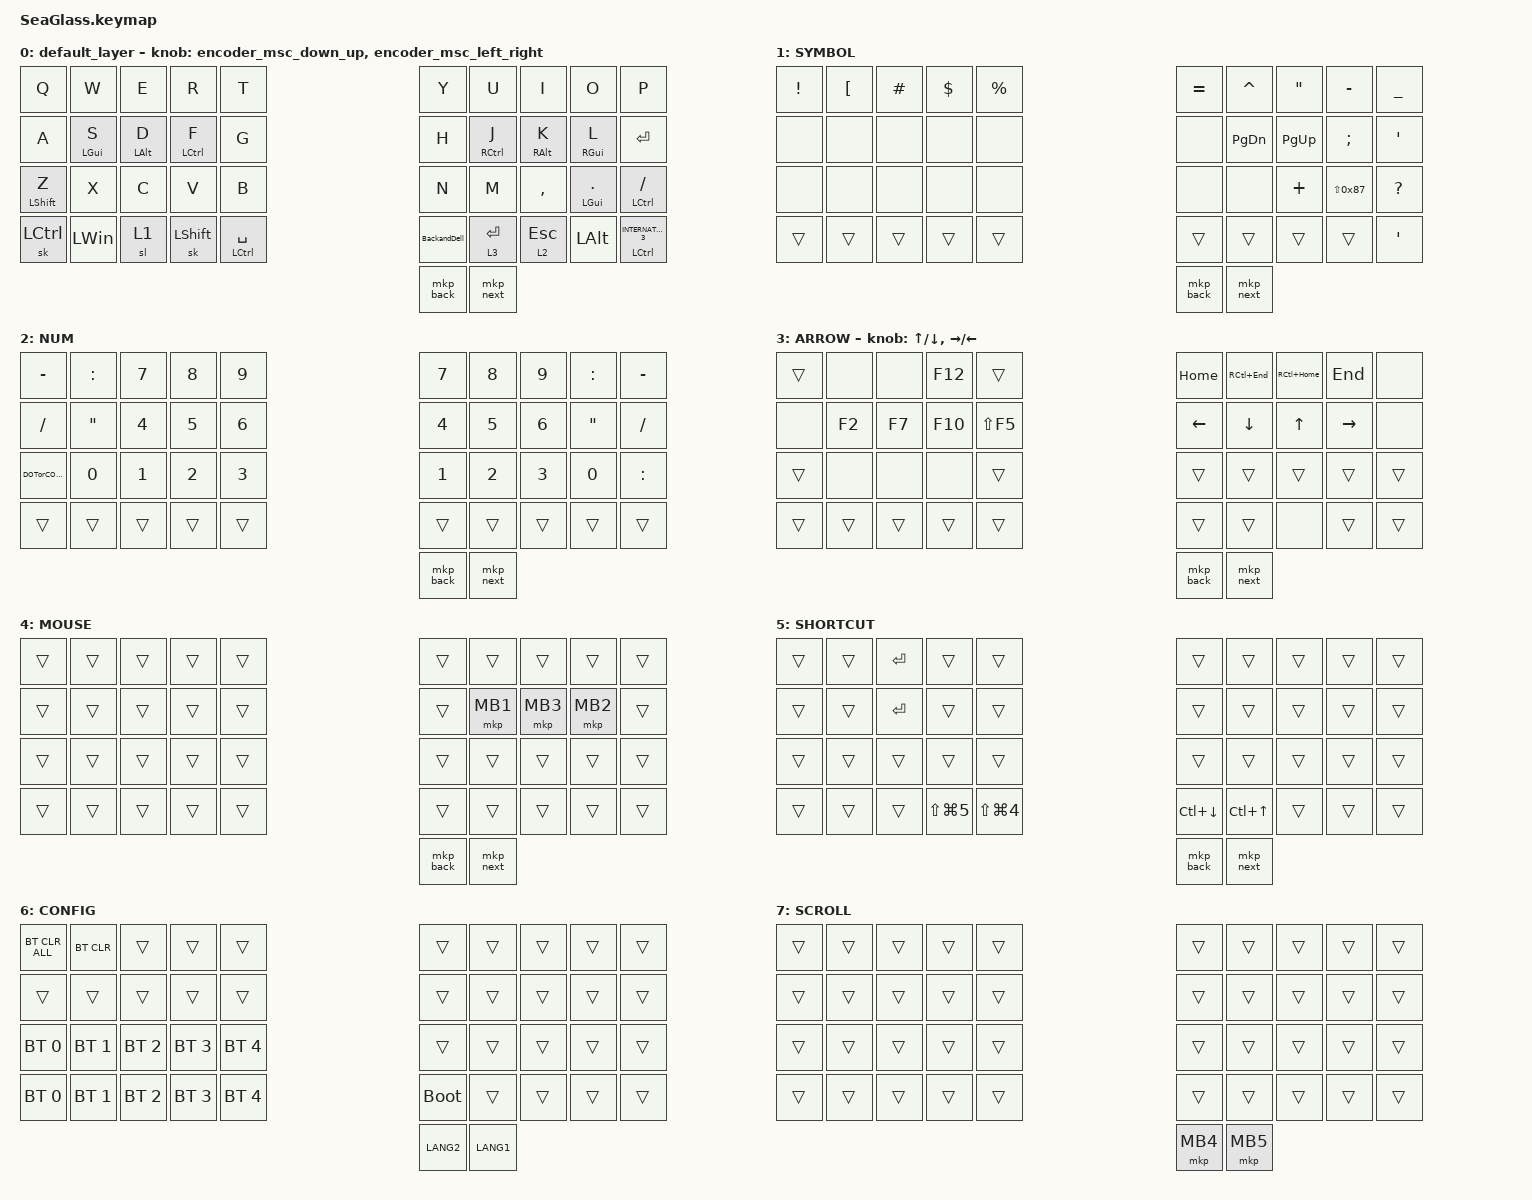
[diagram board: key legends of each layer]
#include <behaviors.dtsi>
#include <dt-bindings/zmk/bt.h>
#include <dt-bindings/zmk/keys.h>
#include <dt-bindings/zmk/pointing.h>

// OS設定を日本語キーボードのまま使用するための変換定義

#define JP_DQUOTE       AT                // "
#define JP_AMPERSAND    CARET             // &
#define JP_QUOTE        AMPERSAND         // '
#define JP_EQUAL        UNDER             // =
#define JP_CARET        EQUAL             // ^
#define JP_YEN          0x89              // ¥
#define JP_PLUS         COLON             // +
#define JP_TILDE        PLUS              // ~
#define JP_PIPE         LS(0x89)          // |
#define JP_AT           LEFT_BRACKET      // @
#define JP_COLON        SINGLE_QUOTE      // :
#define JP_ASTERISK     DOUBLE_QUOTES     // *
#define JP_BACKQUOTE    LEFT_BRACE        // `
#define JP_UNDERSCORE   LS(0x87)          // _
#define JP_LBRACKET     RIGHT_BRACKET     // [
#define JP_RBRACKET     BACKSLASH         // ]
#define JP_LPAREN       ASTERISK          // (
#define JP_RPAREN       LEFT_PARENTHESIS  // )
#define JP_LBRACE       RIGHT_BRACE       // {
#define JP_RBRACE       PIPE              // }
#define JP_KANA         LANGUAGE_1        // かな
#define JP_EISU         LANGUAGE_2        // 英数
#define JP_HANZEN       GRAVE             // 半角/全角
#define MOUSE 4
#define SCROLL 7
#define NUM 6
#define ZMK_POINTING_DEFAULT_SCRL_VAL 120

&mt {
    flavor = "balanced";
    quick-tap-ms = <300>;
};

&lt {
    flavor = "balanced";
    quick-tap-ms = <300>;
};

/ {
    combos {
        compatible = "zmk,combos";

        middle-click {
            bindings = <&mkp MB3>;
            key-positions = <40 41>;
        };

        tab {
            bindings = <&kp TAB>;
            key-positions = <10 11>;
        };

        backspace {
            bindings = <&BackandDell>;
            key-positions = <8 9>;
        };

        kakko {
            bindings = <&kp ASTRK>;
            key-positions = <13 12>;
        };

        daikakko {
            bindings = <&kp RIGHT_BRACKET>;
            key-positions = <23 22>;
            layers = <0>;
        };

        namikakko {
            bindings = <&kp RIGHT_BRACE>;
            key-positions = <2 3>;
            layers = <0>;
        };

        ten {
            bindings = <&kp AMPERSAND>;
            key-positions = <5 6>;
        };

        tenten {
            bindings = <&kp AT>;
            key-positions = <6 7>;
        };

        mv_config {
            bindings = <&sl 6>;
            key-positions = <32 36>;
            layers = <0>;
        };

        HANZEN {
            bindings = <&kp GRAVE>;
            key-positions = <0 1>;
        };

        bo {
            bindings = <&kp MINUS>;
            key-positions = <17 18>;
        };

        kakkotoji {
            bindings = <&kp LEFT_PARENTHESIS>;
            key-positions = <13 14>;
        };

        daikakkotoji {
            bindings = <&kp BACKSLASH>;
            key-positions = <23 24>;
        };

        namikakkotoji {
            bindings = <&kp PIPE>;
            key-positions = <3 4>;
        };

        BACKQUOTE {
            bindings = <&kp LEFT_BRACE>;
            key-positions = <7 8>;
        };

        mo_scroll_layer {
            bindings = <&mo 7>;
            key-positions = <35 25>;
        };
    };

    macros {
        to_layer_0: to_layer_0 {
            compatible = "zmk,behavior-macro-one-param";
            #binding-cells = <1>;
            bindings = <&to 0 &macro_param_1to1 &kp MACRO_PLACEHOLDER>;
            label = "TO_LAYER_0";
        };

        kakko: kakko {
            compatible = "zmk,behavior-macro";
            #binding-cells = <0>;
            bindings = <&kp ASTRK &kp LEFT_PARENTHESIS &kp LEFT_ARROW>;
            label = "KAKKO";
        };

        dai_kakkko: daikakkko {
            compatible = "zmk,behavior-macro";
            #binding-cells = <0>;
            bindings = <&kp RIGHT_BRACKET &kp BACKSLASH &kp LEFT_ARROW>;
            label = "DAIKAKKKO";
        };

        nami_kakko: nami_kakko {
            compatible = "zmk,behavior-macro";
            #binding-cells = <0>;
            bindings = <&kp RIGHT_BRACE &kp PIPE &kp LEFT_ARROW>;
            label = "NAMI_KAKKO";
        };
    };

    behaviors {
        lt_to_layer_0: lt_to_layer_0 {
            compatible = "zmk,behavior-hold-tap";
            label = "LAYER_TAP_TO_0";
            bindings = <&mo>, <&to_layer_0>;

            #binding-cells = <2>;
            tapping-term-ms = <200>;
        };

        encoder_msc_down_up: encoder_msc_down_up {
            compatible = "zmk,behavior-sensor-rotate";
            label = "ENCODER_MSC_DOWN_UP";
            #sensor-binding-cells = <0>;
            bindings = <&msc SCRL_UP>, <&msc SCRL_DOWN>;

            tap-ms = <20>;
        };

        encoder_msc_left_right: encoder_msc_left_right {
            compatible = "zmk,behavior-sensor-rotate";
            label = "ENCODER_MSC_LEFT_RIGHT";
            #sensor-binding-cells = <0>;
            bindings = <&msc SCRL_LEFT>, <&msc SCRL_RIGHT>;

            tap-ms = <20>;
        };

        BackandDell: BackandDell {
            compatible = "zmk,behavior-mod-morph";
            label = "BACKANDDELL";
            bindings = <&kp BACKSPACE>, <&kp DEL>;

            #binding-cells = <0>;
            mods = <(MOD_LSFT)>;
        };

        mkp_back: mkp_back {
            compatible = "zmk,behavior-mod-morph";
            label = "MKP_BACK";
            bindings = <&mkp MB1>, <&mkp MB4>;

            #binding-cells = <0>;
            mods = <(MOD_LSFT)>;
        };

        mkp_next: mkp_next {
            compatible = "zmk,behavior-mod-morph";
            label = "MKP_NEXT";
            bindings = <&mkp MB2>, <&mkp MB5>;

            #binding-cells = <0>;
            mods = <(MOD_LSFT)>;
        };

        DOTorCOMMA: DOTorCOMMA {
            compatible = "zmk,behavior-mod-morph";
            label = "DOTORCOMMA";
            bindings = <&kp PERIOD>, <&kp COMMA>;

            #binding-cells = <0>;
            mods = <(MOD_LSFT)>;
        };

        TAP_KPandMO: TAP_KPandMO {
            compatible = "zmk,behavior-hold-tap";
            label = "TAP_KPANDMO";
            bindings = <&mo>, <&kp>;

            #binding-cells = <2>;
            tapping-term-ms = <200>;
        };

        lhm: left_home_row_mod {
            compatible = "zmk,behavior-hold-tap";
            label = "LEFT_HOME_ROW_MOD";
            bindings = <&kp>, <&kp>;

            #binding-cells = <2>;
            flavor = "balanced";
            tapping-term-ms = <280>;
            quick-tap-ms = <175>;
            require-prior-idle-ms = <125>;
            hold-trigger-key-positions = <5 6 7 8 9 15 16 17 18 19 25 26 27 28 29 35 36 37 38 39 40 41>;
            hold-trigger-on-release;
        };

        rhm: right_home_row_mod {
            compatible = "zmk,behavior-hold-tap";
            label = "RIGHT_HOME_ROW_MOD";
            bindings = <&kp>, <&kp>;

            #binding-cells = <2>;
            flavor = "balanced";
            tapping-term-ms = <280>;
            quick-tap-ms = <175>;
            require-prior-idle-ms = <125>;
            hold-trigger-key-positions = <0 1 2 3 4 10 11 12 13 14 20 21 22 23 24 30 31 32 33 34>;
            hold-trigger-on-release;
        };

        mkp_up_pageup: mkp_up_pageup {
            compatible = "zmk,behavior-mod-morph";
            label = "MKP_UP_PAGEUP";
            bindings = <&kp UP>, <&kp PAGE_UP>;

            #binding-cells = <0>;
            mods = <(MOD_LSFT)>;
        };

        mkp_down_pagedown: mkp_down_pagedown {
            compatible = "zmk,behavior-mod-morph";
            label = "MKP_DOWN_PAGEDOWN";
            bindings = <&kp DOWN>, <&kp PAGE_DOWN>;

            #binding-cells = <0>;
            mods = <(MOD_LSFT)>;
        };
    };

    keymap {
        compatible = "zmk,keymap";

        default_layer {
            bindings = <
&kp Q             &kp W         &kp E        &kp R         &kp T                   &kp Y         &kp U                 &kp I                  &kp O                &kp P
&kp A             &lhm LGUI S   &lhm LALT D  &lhm LCTRL F  &kp G                   &kp H         &rhm RCTRL J          &rhm RALT K            &rhm RGUI L          &kp ENTER
&mt LEFT_SHIFT Z  &kp X         &kp C        &kp V         &kp B                   &kp N         &kp M                 &kp COMMA              &mt LEFT_GUI PERIOD  &mt LEFT_CONTROL SLASH
&sk LCTRL         &kp LEFT_WIN  &sl 1        &sk LSHIFT    &mt LEFT_CONTROL SPACE  &BackandDell  &TAP_KPandMO 3 ENTER  &TAP_KPandMO 2 ESCAPE  &kp LEFT_ALT         &mt LCTRL INTERNATIONAL_3
&mkp_back         &mkp_next
            >;

            sensor-bindings = <&encoder_msc_down_up>, <&encoder_msc_left_right>;
        };

        SYMBOL {
            bindings = <
&kp EXCLAMATION  &kp JP_AT  &kp HASH  &kp DOLLAR  &kp PRCNT  &kp JP_CARET  &kp JP_AMPERSAND  &kp JP_ASTERISK  &kp MINUS          &kp JP_EQUAL
&none            &none      &none     &none       &none      &none         &kp PAGE_DOWN     &kp PAGE_UP      &kp SEMI           &kp JP_COLON
&none            &none      &none     &none       &none      &none         &none             &kp JP_TILDE     &kp JP_UNDERSCORE  &kp QUESTION
&trans           &trans     &trans    &trans      &trans     &trans        &trans            &trans           &trans             &kp SINGLE_QUOTE
&mkp_back        &mkp_next
            >;
        };

        NUM {
            bindings = <
&kp MINUS    &kp JP_PLUS       &kp N7        &kp N8        &kp N9        &kp N7        &kp NUMBER_8  &kp NUMBER_9  &kp JP_PLUS      &kp MINUS
&kp SLASH    &kp JP_ASTERISK  &kp NUMBER_4  &kp N5        &kp NUMBER_6  &kp NUMBER_4  &kp NUMBER_5  &kp NUMBER_6  &kp JP_ASTERISK  &kp SLASH
&DOTorCOMMA  &kp N0        &kp NUMBER_1  &kp NUMBER_2  &kp NUMBER_3  &kp NUMBER_1  &kp NUMBER_2  &kp NUMBER_3  &kp N0        &kp COLON
&trans       &trans        &trans        &trans        &trans        &trans        &trans        &trans        &trans        &trans
&mkp_back    &mkp_next
            >;
        };

        ARROW {
            bindings = <
&trans     &none      &none   &kp F12  &trans      &kp HOME        &kp RC(END)     &kp RC(HOME)  &kp END          &none
&none      &kp F2     &kp F7  &kp F10  &kp LS(F5)  &kp LEFT_ARROW  &kp DOWN_ARROW  &kp UP_ARROW  &kp RIGHT_ARROW  &none
&trans     &none      &none   &none    &trans      &trans          &trans          &trans        &trans           &trans
&trans     &trans     &trans  &trans   &trans      &trans          &trans          &none         &trans           &trans
&mkp_back  &mkp_next
            >;

            sensor-bindings =
                <&inc_dec_kp UP_ARROW DOWN_ARROW>,
                <&inc_dec_kp RIGHT_ARROW LEFT_ARROW>;
        };

        MOUSE {
            bindings = <
&trans     &trans     &trans  &trans  &trans  &trans  &trans    &trans    &trans    &trans
&trans     &trans     &trans  &trans  &trans  &trans  &mkp MB1  &mkp MB3  &mkp MB2  &trans
&trans     &trans     &trans  &trans  &trans  &trans  &trans    &trans    &trans    &trans
&trans     &trans     &trans  &trans  &trans  &trans  &trans    &trans    &trans    &trans
&mkp_back  &mkp_next
            >;
        };

        SHORTCUT {
            bindings = <
&trans     &trans     &kp ENTER  &trans          &trans          &trans              &trans            &trans  &trans  &trans
&trans     &trans     &kp ENTER  &trans          &trans          &trans              &trans            &trans  &trans  &trans
&trans     &trans     &trans     &trans          &trans          &trans              &trans            &trans  &trans  &trans
&trans     &trans     &trans     &kp LS(LG(N5))  &kp LS(LG(N4))  &kp LC(DOWN_ARROW)  &kp LC(UP_ARROW)  &trans  &trans  &trans
&mkp_back  &mkp_next
            >;
        };

        CONFIG {
            bindings = <
&bt BT_CLR_ALL  &bt BT_CLR    &trans        &trans        &trans        &trans       &trans  &trans  &trans  &trans
&trans          &trans        &trans        &trans        &trans        &trans       &trans  &trans  &trans  &trans
&bt BT_SEL 0    &bt BT_SEL 1  &bt BT_SEL 2  &bt BT_SEL 3  &bt BT_SEL 4  &trans       &trans  &trans  &trans  &trans
&bt BT_SEL 0    &bt BT_SEL 1  &bt BT_SEL 2  &bt BT_SEL 3  &bt BT_SEL 4  &bootloader  &trans  &trans  &trans  &trans
&kp LANG2       &kp LANG1
            >;
        };

        SCROLL {
            bindings = <
&trans    &trans    &trans  &trans  &trans  &trans  &trans  &trans  &trans  &trans
&trans    &trans    &trans  &trans  &trans  &trans  &trans  &trans  &trans  &trans
&trans    &trans    &trans  &trans  &trans  &trans  &trans  &trans  &trans  &trans
&trans    &trans    &trans  &trans  &trans  &trans  &trans  &trans  &trans  &trans
&mkp MB4  &mkp MB5
            >;
        };
    };
};
